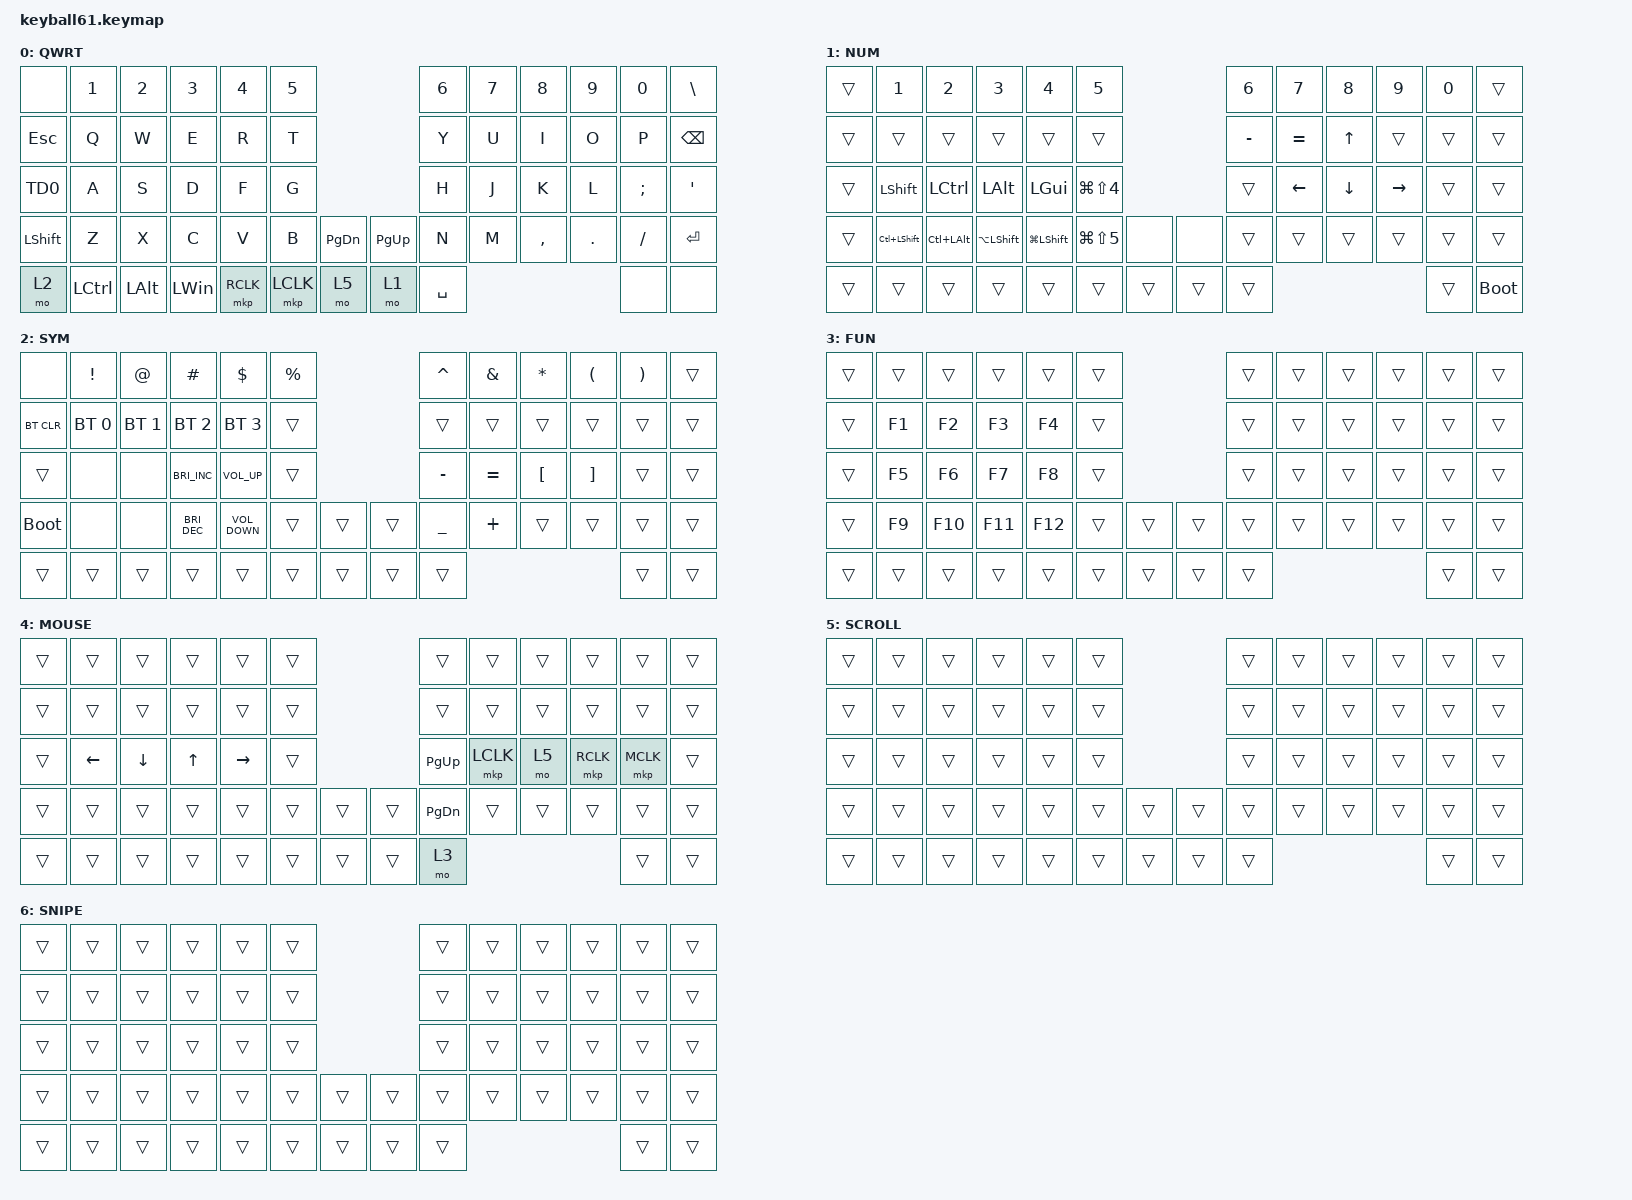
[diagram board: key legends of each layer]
#define DEFAULT 0
#define SYM     1
#define FUN     2
#define MOUSE   3
#define SCROLL  4
#define SNIPE   5

#include <behaviors/mouse_keys.dtsi>
#include <dt-bindings/zmk/mouse.h>
#include <behaviors.dtsi>
#include <dt-bindings/zmk/bt.h>
#include <dt-bindings/zmk/keys.h>
#include <dt-bindings/zmk/pointing.h>

&nice_view_spi { cs-gpios = <&pro_micro 1 GPIO_ACTIVE_HIGH>; };

&lt {
    tapping-term-ms = <240>;
    flavor = "balanced";
    quick-tap-ms = <150>;
};

&mt {
    tapping-term-ms = <200>;
    flavor = "tap-preferred";
    quick-tap-ms = <150>;
};

/ {
    combos {
        compatible = "zmk,combos";

        left_bracket {
            bindings = <&kp LEFT_BRACKET>;
            key-positions = <31 32>;
        };

        right_bracket {
            bindings = <&kp RIGHT_BRACKET>;
            key-positions = <32 33>;
        };

        magnify {
            bindings = <&kp LG(PLUS)>;
            key-positions = <20 21>;
        };

        minus_ {
            bindings = <&kp LG(MINUS)>;
            key-positions = <20 19>;
        };

        scroll {
            bindings = <&msc MOVE_Y(-20)>;
            key-positions = <55 40>;
        };

        mission {
            bindings = <&kp LC(UP_ARROW)>;
            key-positions = <55 27>;
        };

        scroll_down {
            bindings = <&mo 5>;
            key-positions = <55 39>;
        };

        minus {
            bindings = <&kp MINUS>;
            key-positions = <58 30>;
        };

        plus_ {
            bindings = <&kp PLUS>;
            key-positions = <58 31>;
        };
    };

    behaviors {
        TD0: TD0 {
            compatible = "zmk,behavior-tap-dance";
            label = "TD0";
            #binding-cells = <0>;
            bindings = <&mt LALT TAB>;
            tapping-term-ms = <150>;
        };
    };

    keymap {
        compatible = "zmk,keymap";

        default_layer {
            label = "QWRT";
            bindings = <
&none           &kp N1     &kp N2        &kp N3        &kp N4     &kp N5                                 &kp N6     &kp N7  &kp N8     &kp N9   &kp N0    &kp BACKSLASH
&kp ESCAPE      &kp Q      &kp W         &kp E         &kp R      &kp T                                  &kp Y      &kp U   &kp I      &kp O    &kp P     &kp BACKSPACE
&TD0            &kp A      &kp S         &kp D         &kp F      &kp G                                  &kp H      &kp J   &kp K      &kp L    &kp SEMI  &kp SQT
&kp LEFT_SHIFT  &kp Z      &kp X         &kp C         &kp V      &kp B      &kp PAGE_DOWN  &kp PAGE_UP  &kp N      &kp M   &kp COMMA  &kp DOT  &kp FSLH  &kp RETURN
&mo 2           &kp LCTRL  &kp LEFT_ALT  &kp LEFT_WIN  &mkp RCLK  &mkp LCLK  &mo 5          &mo 1        &kp SPACE                              &none     &none
            >;
        };

        number_layer {
            bindings = <
&trans  &kp N1              &kp N2            &kp N3              &kp N4              &kp N5                                &kp N6     &kp N7     &kp N8        &kp N9     &kp N0  &trans
&trans  &trans              &trans            &trans              &trans              &trans                                &kp MINUS  &kp EQUAL  &kp UP_ARROW  &trans     &trans  &trans
&trans  &kp LEFT_SHIFT      &kp LEFT_CONTROL  &kp LEFT_ALT        &kp LEFT_GUI        &kp LG(LS(NUMBER_4))                  &trans     &kp LEFT   &kp DOWN      &kp RIGHT  &trans  &trans
&trans  &kp LC(LEFT_SHIFT)  &kp LC(LEFT_ALT)  &kp LA(LEFT_SHIFT)  &kp LG(LEFT_SHIFT)  &kp LG(LS(N5))        &none   &none   &trans     &trans     &trans        &trans     &trans  &trans
&trans  &trans              &trans            &trans              &trans              &trans                &trans  &trans  &trans                                         &trans  &bootloader
            >;

            label = "NUM";
        };

        symbol_layer {
            label = "SYM";
            bindings = <
&none        &kp EXCLAMATION  &kp AT_SIGN   &kp HASH              &kp DOLLAR         &kp PERCENT                  &kp CARET       &kp AMPERSAND  &kp ASTERISK      &kp LEFT_PARENTHESIS  &kp RIGHT_PARENTHESIS  &trans
&bt BT_CLR   &bt BT_SEL 0     &bt BT_SEL 1  &bt BT_SEL 2          &bt BT_SEL 3       &trans                       &trans          &trans         &trans            &trans                &trans                 &trans
&trans       &none            &none         &kp C_BRIGHTNESS_INC  &kp C_VOLUME_UP    &trans                       &kp MINUS       &kp EQUAL      &kp LEFT_BRACKET  &kp RIGHT_BRACKET     &trans                 &trans
&bootloader  &none            &none         &kp C_BRIGHTNESS_DEC  &kp C_VOLUME_DOWN  &trans       &trans  &trans  &kp UNDERSCORE  &kp PLUS       &trans            &trans                &trans                 &trans
&trans       &trans           &trans        &trans                &trans             &trans       &trans  &trans  &trans                                                                 &trans                 &trans
            >;
        };

        function_layer {
            label = "FUN";
            bindings = <
&trans  &trans  &trans   &trans   &trans   &trans                  &trans  &trans  &trans  &trans  &trans  &trans
&trans  &kp F1  &kp F2   &kp F3   &kp F4   &trans                  &trans  &trans  &trans  &trans  &trans  &trans
&trans  &kp F5  &kp F6   &kp F7   &kp F8   &trans                  &trans  &trans  &trans  &trans  &trans  &trans
&trans  &kp F9  &kp F10  &kp F11  &kp F12  &trans  &trans  &trans  &trans  &trans  &trans  &trans  &trans  &trans
&trans  &trans  &trans   &trans   &trans   &trans  &trans  &trans  &trans                          &trans  &trans
            >;
        };

        mouse_layer {
            label = "MOUSE";
            bindings = <
&trans  &trans    &trans    &trans  &trans     &trans                  &trans         &trans     &trans  &trans     &trans     &trans
&trans  &trans    &trans    &trans  &trans     &trans                  &trans         &trans     &trans  &trans     &trans     &trans
&trans  &kp LEFT  &kp DOWN  &kp UP  &kp RIGHT  &trans                  &kp PAGE_UP    &mkp LCLK  &mo 5   &mkp RCLK  &mkp MCLK  &trans
&trans  &trans    &trans    &trans  &trans     &trans  &trans  &trans  &kp PAGE_DOWN  &trans     &trans  &trans     &trans     &trans
&trans  &trans    &trans    &trans  &trans     &trans  &trans  &trans  &mo 3                                        &trans     &trans
            >;
        };

        scroll_layer {
            label = "SCROLL";
            bindings = <
&trans  &trans  &trans  &trans  &trans  &trans                  &trans  &trans  &trans  &trans  &trans  &trans
&trans  &trans  &trans  &trans  &trans  &trans                  &trans  &trans  &trans  &trans  &trans  &trans
&trans  &trans  &trans  &trans  &trans  &trans                  &trans  &trans  &trans  &trans  &trans  &trans
&trans  &trans  &trans  &trans  &trans  &trans  &trans  &trans  &trans  &trans  &trans  &trans  &trans  &trans
&trans  &trans  &trans  &trans  &trans  &trans  &trans  &trans  &trans                          &trans  &trans
            >;
        };

        snipe_layer {
            label = "SNIPE";
            bindings = <
&trans  &trans  &trans  &trans  &trans  &trans                  &trans  &trans  &trans  &trans  &trans  &trans
&trans  &trans  &trans  &trans  &trans  &trans                  &trans  &trans  &trans  &trans  &trans  &trans
&trans  &trans  &trans  &trans  &trans  &trans                  &trans  &trans  &trans  &trans  &trans  &trans
&trans  &trans  &trans  &trans  &trans  &trans  &trans  &trans  &trans  &trans  &trans  &trans  &trans  &trans
&trans  &trans  &trans  &trans  &trans  &trans  &trans  &trans  &trans                          &trans  &trans
            >;
        };
    };
};
